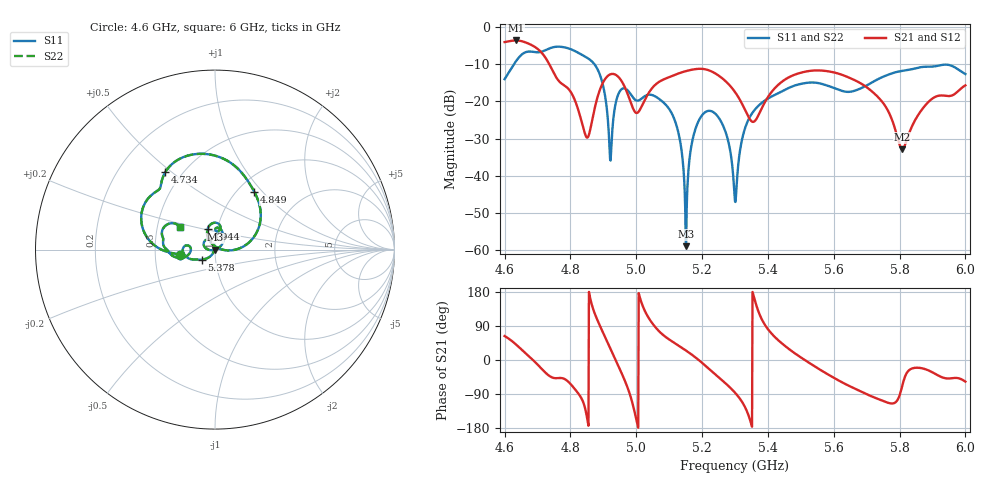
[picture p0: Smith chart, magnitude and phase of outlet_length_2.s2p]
! TOUCHSTONE file generated by CST MICROWAVE STUDIO
! Date and time: Mon Dec  2 04:50:22 2024
! Project name: test_tuning.cst
! Parameters = {airCoaxOuterDiameter=3; chamferAngle=45; chamferWidth=24; connectorLength=10; drillingHoleDiameter=4.1; feedLength=60; flareDiameter=130; flareLength=70; gratingDistance=0; gratingGap=1.90274; outletLength=10; polarizerLength=134; probe1Diameter=1.3; probe1Distance=14; probe1Length=1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
! Header version: 2024
! Port assignment regex: !\s*Touchstone port\s*([0-9]+)\s*=\s*(CST MWS port|CST DES external port|CST DES block port)\s*(.+)\s* \(\"(.*)\"\)(\s*mode\s*([0-9]+))?.*
! Touchstone port assignment:
! Touchstone port 1 = CST MWS port 1 ("Input1")
! Touchstone port 2 = CST MWS port 2 ("Input2")
# GHz S MA R 50
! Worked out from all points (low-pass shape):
!   1001 points, 4.6 GHz to 6 GHz, reference 50 ohm
!   highest |S21| = -3.60 dB at 4.634 GHz (marker M1); lowest = -32.9 dB at 5.808 GHz (marker M2)
!   |S21| within 3 dB of the highest: start of sweep to 4.709 GHz
!   lowest |S11| = -59.0 dB at 5.152 GHz (marker M3), VSWR 1.00, Z = 49.9 - j0.0801 ohm
!   |S11| at or under -10 dB: start of sweep to 4.628 GHz; 4.873 GHz to end of sweep
!   |S22| runs from -59.0 to -5.3 dB; largest |S21 - S12| = 3.2e-07
!   S11 on the Smith chart (normalised r, x): 4.6 GHz: 0.67, -0.04; 4.734 GHz: 0.41, +0.47; 4.849 GHz: 1.19, +0.90; 4.944 GHz: 0.90, +0.21; 5.378 GHz: 0.86, -0.10; 6 GHz: 0.65, +0.18
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4.6  0.1993 -171.9  0.6287 63.3  0.6287 63.3  0.1993 -171.9
4.6336  0.3423 175.5  0.6607 41.7  0.6607 41.7  0.3423 175.5
4.7344  0.5127 122.7  0.3242 -41.0  0.3242 -41.0  0.5127 122.7
4.8338  0.426 64.9  0.05387 -101.7  0.05387 -101.7  0.426 64.9
4.8492  0.3896 55.8  0.03281 -146.4  0.03281 -146.4  0.3896 55.8
4.894  0.1991 12.8  0.161 81.8  0.161 81.8  0.1991 12.8
4.9206  0.01648 41.2  0.2309 31.5  0.2309 31.5  0.01648 41.2
4.9444  0.1215 109.9  0.2163 -13.3  0.2163 -13.3  0.1215 109.9
5.0004  0.1029 81.7  0.06986 -158.0  0.06986 -158.0  0.1029 81.7
5.0676  0.1094 68.7  0.1811 77.4  0.1811 77.4  0.1094 68.7
5.1236  0.04521 35.4  0.2335 40.8  0.2335 40.8  0.04521 35.4
5.1516  0.001128 -134.7  0.2561 24.6  0.2561 24.6  0.001128 -134.7
5.174  0.03465 -177.8  0.2695 10.7  0.2695 10.7  0.03465 -177.8
5.2174  0.07436 144.7  0.2647 -20.8  0.2647 -20.8  0.07436 144.7
5.2692  0.04121 107.3  0.1908 -59.9  0.1908 -59.9  0.04121 107.3
5.3  0.004513 156.8  0.1337 -86.2  0.1337 -86.2  0.004514 156.8
5.3294  0.04203 -123.6  0.07876 -122.6  0.07876 -122.6  0.04203 -123.6
5.3784  0.09334 -143.2  0.07598 112.8  0.07598 112.8  0.09334 -143.2
5.5338  0.1797 -178.8  0.2593 -12.2  0.2593 -12.2  0.1797 -178.8
5.7676  0.2306 -170.1  0.07081 -113.6  0.07081 -113.6  0.2306 -170.1
5.8082  0.2574 -177.0  0.02271 -68.0  0.02271 -68.0  0.2574 -177.0
6  0.233 146.9  0.1644 -57.0  0.1644 -57.0  0.233 146.9
